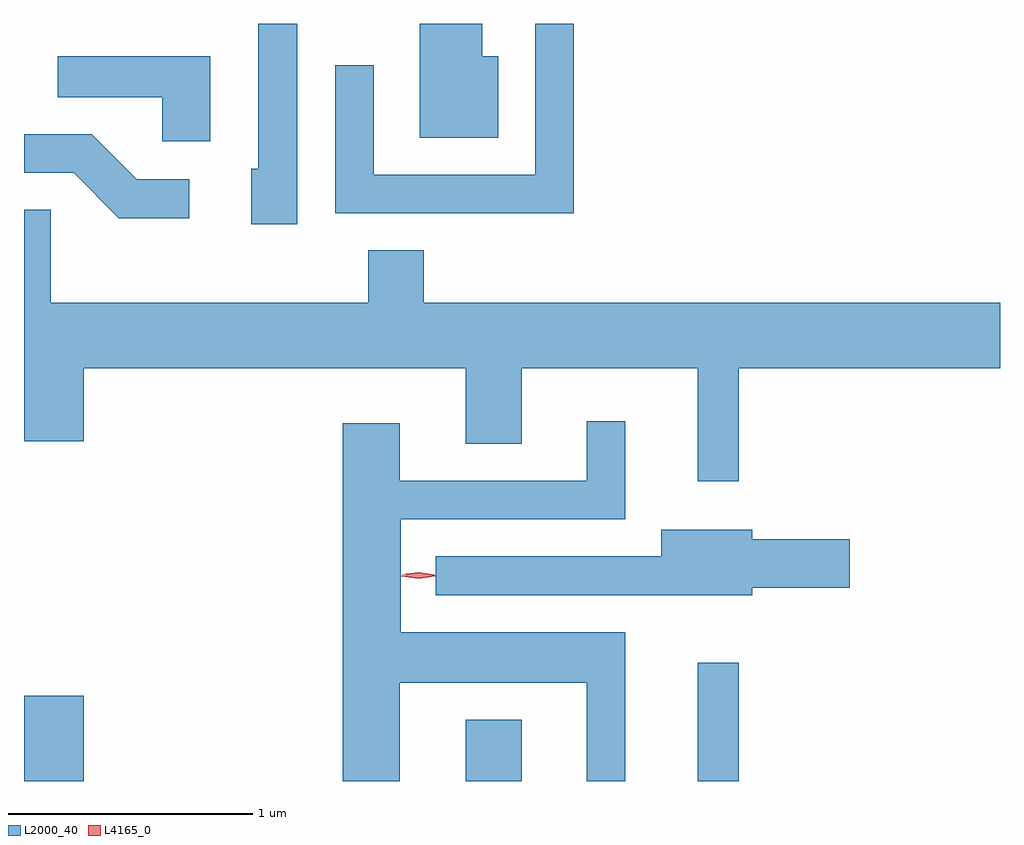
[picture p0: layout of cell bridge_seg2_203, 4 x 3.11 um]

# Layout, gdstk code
import gdstk
lib = gdstk.Library(unit=1e-6, precision=1e-09)
def R(c, l, rs):  # rectangles x0, y0, x1, y1
    for r in rs: c.add(gdstk.rectangle(r[:2], r[2:], *l))
def P(c, l, *ps):  # polygons
    for p in ps: c.add(gdstk.Polygon(p, *l))
L2000_40 = (2000, 40)
L4165_0 = (4165, 0)

bridge_seg2_203 = lib.new_cell('bridge_seg2_203')
R(bridge_seg2_203, L2000_40, [(914.4,977.802,914.644,978.154), (916.211,977.802,916.439,978.054), (917.161,977.802,917.329,978.288)])
P(bridge_seg2_203, L2000_40, [(916.654,980.908),(916.496,980.908),(916.496,980.289),(915.834,980.289),(915.834,980.738),(915.676,980.738),(915.676,980.131),(916.654,980.131)],
  [(916.344,980.774),(916.279,980.774),(916.279,980.908),(916.021,980.908),(916.021,980.441),(916.344,980.441)],
  [(915.519,980.908),(915.361,980.908),(915.361,980.314),(915.331,980.314),(915.331,980.086),(915.519,980.086)],
  [(915.164,980.774),(914.538,980.774),(914.538,980.606),(914.966,980.606),(914.966,980.426),(915.164,980.426)],
  [(915.078,980.269),(914.862,980.269),(914.677,980.454),(914.4,980.454),(914.4,980.296),(914.604,980.296),(914.789,980.111),(915.078,980.111)],
  [(917.329,979.496),(918.4,979.496),(918.4,979.764),(916.039,979.764),(916.039,979.979),(915.811,979.979),(915.811,979.764),(914.509,979.764),(914.509,980.144),(914.4,980.144),(914.4,979.196),(914.644,979.196),(914.644,979.496),(916.211,979.496),(916.211,979.186),(916.439,979.186),(916.439,979.496),(917.161,979.496),(917.161,979.033),(917.329,979.033)],
  [(915.939,978.206),(916.706,978.206),(916.706,977.802),(916.864,977.802),(916.864,978.414),(915.944,978.414),(915.944,978.876),(916.864,978.876),(916.864,979.278),(916.706,979.278),(916.706,979.034),(915.939,979.034),(915.939,979.269),(915.706,979.269),(915.706,977.802),(915.939,977.802)],
  [(917.384,978.596),(917.784,978.596),(917.784,978.794),(917.384,978.794),(917.384,978.834),(917.011,978.834),(917.011,978.724),(916.088,978.724),(916.088,978.566),(917.384,978.566)])
P(bridge_seg2_203, L4165_0, [(916.016,978.64),(915.951,978.651),(915.95,978.652),(915.951,978.652),(916.017,978.66),(916.082,978.649),(916.083,978.649),(916.082,978.648)],
  [(916.017,978.633),(915.948,978.643),(915.947,978.643),(915.948,978.644),(916.017,978.653),(916.086,978.644),(916.086,978.643),(916.086,978.643)])

lib.write_gds('bridge_seg2_203.gds')
